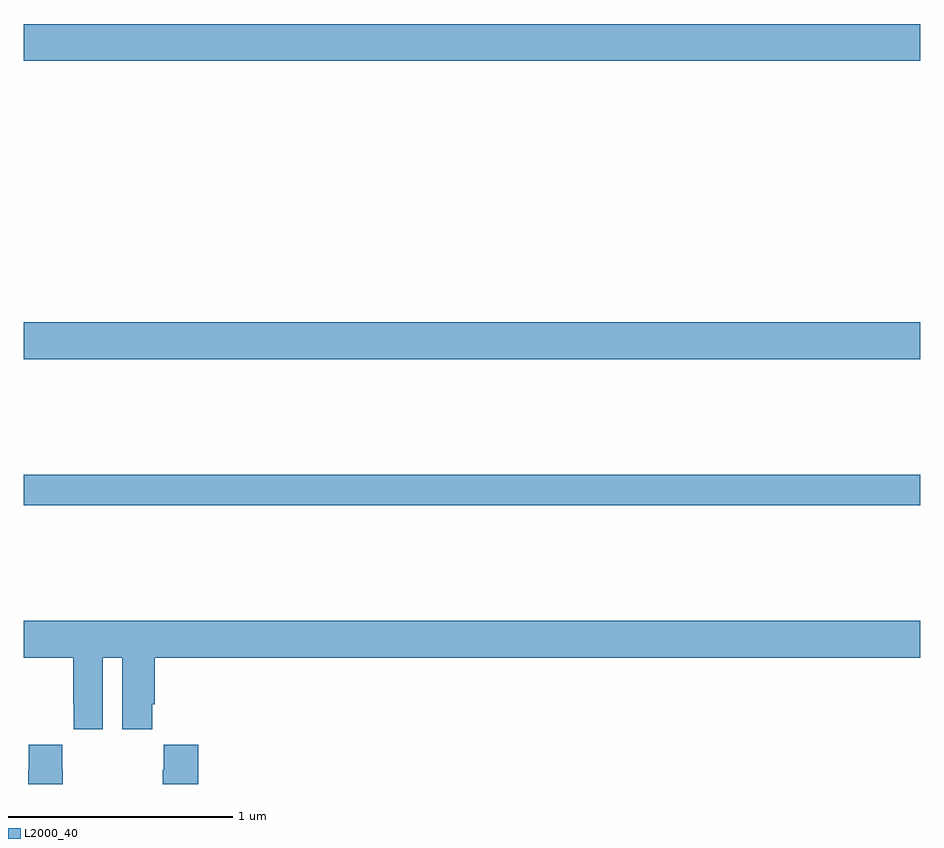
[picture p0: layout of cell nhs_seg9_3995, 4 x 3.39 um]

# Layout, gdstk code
import gdstk
lib = gdstk.Library(unit=1e-6, precision=1e-09)
def R(c, l, rs):  # rectangles x0, y0, x1, y1
    for r in rs: c.add(gdstk.rectangle(r[:2], r[2:], *l))
def P(c, l, *ps):  # polygons
    for p in ps: c.add(gdstk.Polygon(p, *l))
L2000_40 = (2000, 40)

nhs_seg9_3995 = lib.new_cell('nhs_seg9_3995')
R(nhs_seg9_3995, L2000_40, [(339,1219.744,343,1219.88), (339,1220.396,343,1220.56), (339,1221.728,343,1221.892)])
P(nhs_seg9_3995, L2000_40, [(339.352,1219.064),(339.44,1219.064),(339.44,1218.744),(339.574,1218.744),(339.574,1218.856),(339.584,1218.856),(339.584,1219.064),(343,1219.064),(343,1219.228),(339,1219.228),(339,1219.064),(339.221,1219.064),(339.221,1218.856),(339.222,1218.856),(339.222,1218.744),(339.352,1218.744)],
  [(339.174,1218.563),(339.171,1218.563),(339.171,1218.676),(339.021,1218.676),(339.021,1218.563),(339.019,1218.563),(339.019,1218.5),(339.174,1218.5)],
  [(339.779,1218.676),(339.625,1218.676),(339.625,1218.563),(339.619,1218.563),(339.619,1218.5),(339.779,1218.5)])

lib.write_gds('nhs_seg9_3995.gds')
